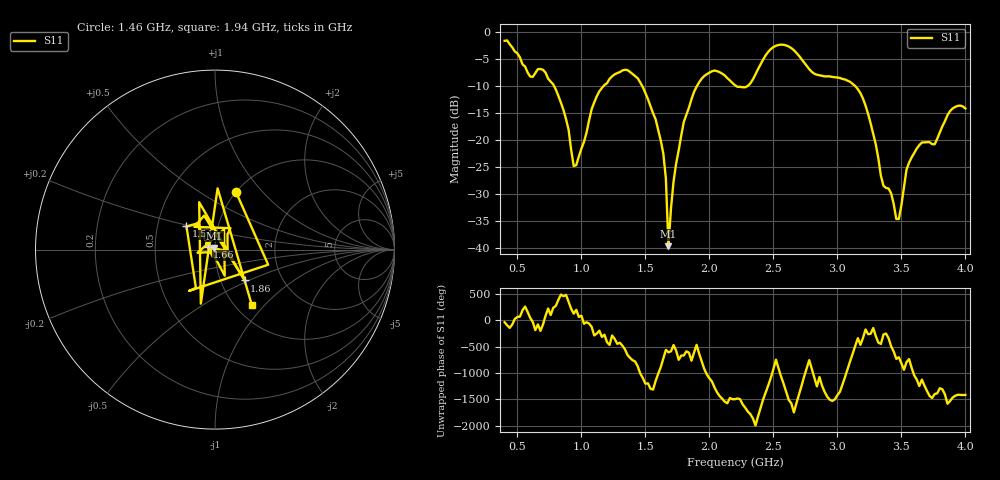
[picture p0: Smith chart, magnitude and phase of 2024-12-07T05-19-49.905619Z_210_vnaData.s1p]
!Created with skrf (http://scikit-rf.org).
# Hz S RI R 50.0
!freq ReS11 ImS11
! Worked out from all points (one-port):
!   181 points, 400 MHz to 4 GHz, reference 50 ohm
!   lowest |S11| = -39.6 dB at 1.68 GHz (marker M1), VSWR 1.02, Z = 49.6 + j0.954 ohm
!   |S11| at or under -10 dB: 785.9 MHz to 1.174 GHz (388.1 MHz wide, 39.6 % of centre); 1.475 GHz to 1.904 GHz (428.9 MHz wide, 25.4 % of centre); 3.138 GHz to end of sweep (the widest 3 of 4)
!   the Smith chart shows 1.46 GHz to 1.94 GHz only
!   S11 on the Smith chart (normalised r, x): 1.46 GHz: 1.01, +0.72; 1.54 GHz: 0.70, +0.19; 1.66 GHz: 0.92, +0.03; 1.86 GHz: 1.30, -0.47; 1.94 GHz: 1.19, -0.85
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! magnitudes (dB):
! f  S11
! 400 MHz  -1.7
! 600 MHz  -8.3
! 720 MHz  -7.6
! 860 MHz  -14.5
! 960 MHz  -24.6
! 1.12 GHz  -11.9
! 1.3 GHz  -7.5
! 1.46 GHz  -9.4
! 1.54 GHz  -13.8
! 1.62 GHz  -20.1
! 1.66 GHz  -27.1
! 1.68 GHz  -39.6
! 1.72 GHz  -27.7
! 1.76 GHz  -21.9
! 1.86 GHz  -12.5
! 1.94 GHz  -8.7
! 2.2 GHz  -9.9
! 2.32 GHz  -9.5
! 2.5 GHz  -2.8
! 2.66 GHz  -3.4
! 3.1 GHz  -9.3
! 3.22 GHz  -13.7
! 3.36 GHz  -28.5
! 3.46 GHz  -34.6
! 3.56 GHz  -24.2
! 3.76 GHz  -20.8
! 3.9 GHz  -14.2
! 4 GHz  -14.2
